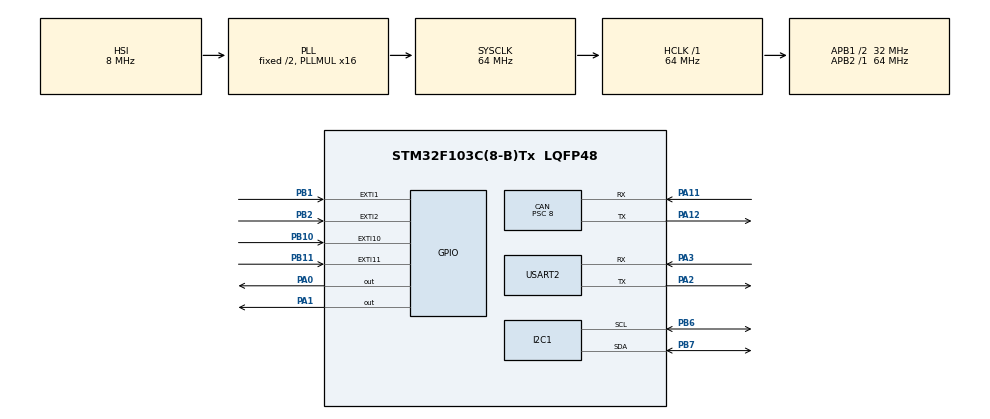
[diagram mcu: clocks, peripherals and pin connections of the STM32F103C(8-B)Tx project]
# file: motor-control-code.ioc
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CAN.BS1=CAN_BS1_2TQ
CAN.CalculateBaudRate=1000000
CAN.CalculateTimeBit=1000
CAN.CalculateTimeQuantum=250.0
CAN.Prescaler=8
Mcu.Family=STM32F1
Mcu.Name=STM32F103C(8-B)Tx
Mcu.Package=LQFP48
NVIC.EXTI15_10_IRQn=true\:0\:0\:false\:false\:true\:true\:true\:true
NVIC.EXTI1_IRQn=true\:0\:0\:false\:false\:true\:true\:true\:true
NVIC.EXTI2_IRQn=true\:0\:0\:false\:false\:true\:true\:true\:true
NVIC.PriorityGroup=NVIC_PRIORITYGROUP_4
NVIC.TIM1_UP_IRQn=true\:0\:0\:false\:false\:true\:true\:true\:true
NVIC.USB_LP_CAN1_RX0_IRQn=true\:0\:0\:false\:false\:true\:true\:true\:true
PA0-WKUP.Signal=GPIO_Output
PA1.Signal=GPIO_Output
PA11.Mode=CAN_Activate
PA11.Signal=CAN_RX
PA12.Mode=CAN_Activate
PA12.Signal=CAN_TX
PA13.Mode=Serial_Wire
PA13.Signal=SYS_JTMS-SWDIO
PA14.Mode=Serial_Wire
PA14.Signal=SYS_JTCK-SWCLK
PA2.Mode=Asynchronous
PA2.Signal=USART2_TX
PA3.Mode=Asynchronous
PA3.Signal=USART2_RX
PB1.GPIO_ModeDefaultEXTI=GPIO_MODE_IT_RISING
PB1.Signal=GPXTI1
PB10.GPIO_ModeDefaultEXTI=GPIO_MODE_IT_RISING
PB10.Signal=GPXTI10
PB11.GPIO_ModeDefaultEXTI=GPIO_MODE_IT_RISING
PB11.Signal=GPXTI11
PB2.GPIO_ModeDefaultEXTI=GPIO_MODE_IT_RISING
PB2.Signal=GPXTI2
PB6.Mode=I2C
PB6.Signal=I2C1_SCL
PB7.Mode=I2C
PB7.Signal=I2C1_SDA
ProjectManager.HeapSize=0x200
ProjectManager.StackSize=0x400
ProjectManager.TargetToolchain=STM32CubeIDE
RCC.AHBFreq_Value=64000000
RCC.APB1CLKDivider=RCC_HCLK_DIV2
RCC.APB1Freq_Value=32000000
RCC.APB1TimFreq_Value=64000000
RCC.APB2Freq_Value=64000000
RCC.APB2TimFreq_Value=64000000
RCC.HCLKFreq_Value=64000000
RCC.PLLMUL=RCC_PLL_MUL16
RCC.SYSCLKFreq_VALUE=64000000
RCC.SYSCLKSource=RCC_SYSCLKSOURCE_PLLCLK
RCC.USBFreq_Value=64000000
TIM1.Period=999
TIM1.Prescaler=63
USART2.VirtualMode=VM_ASYNC
VP_TIM1_VS_ClockSourceINT.Mode=Internal
board=custom

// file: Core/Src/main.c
/* USER CODE BEGIN Header */
/**
  ******************************************************************************
  * @file           : main.c
  * @brief          : Main program body
  ******************************************************************************
  * @attention
  *
  * Copyright (c) 2022 STMicroelectronics.
  * All rights reserved.
  *
  * This software is licensed under terms that can be found in the LICENSE file
  * in the root directory of this software component.
  * If no LICENSE file comes with this software, it is provided AS-IS.
  *
  ******************************************************************************
  */
/* USER CODE END Header */
#include "main.h"
#include "can.h"
#include "i2c.h"
#include "tim.h"
#include "usart.h"
#include "gpio.h"

/* USER CODE BEGIN Includes */
#include <stdbool.h>
#include "math.h"
#include "printf.h"
#include "motor.h"
#include "pid.h"
#include "oled.h"
#include "retarget.h"
#include "menu.h"
#include "key.h"
#include "delay.h"
/* USER CODE END Includes */

void SystemClock_Config(void);

/* USER CODE BEGIN 0 */

#define DECELERATION_RATIO_2006 36
#define DECELERATION_RATIO_3508 19.2032

uint64_t times = 0;
uint16_t times_can_recive = 0;
uint16_t times_can_send = 0;

void HAL_CAN_RxFifo0MsgPendingCallback(CAN_HandleTypeDef *hcan) {

    if (hcan->Instance == CAN1) {
        if (times_can_recive > 200) {
            HAL_GPIO_TogglePin(GPIOA, GPIO_PIN_0);
            times_can_recive = 0;
        }
        CAN_RxHeaderTypeDef rx_header;
        HAL_CAN_GetRxMessage(hcan, CAN_RX_FIFO0, &rx_header, can_rx_data);
    }
}

pid_t_ pid_struct;
double set_speed = 0;

void HAL_TIM_PeriodElapsedCallback(TIM_HandleTypeDef *htim) {
    get_moto_measure(&moto_measure);

    pid_calc(&pid_struct, (float) moto_measure.speed_rpm, set_speed);
    set_moto_current((int16_t) pid_struct.pos_out);
    times++;
    times_can_recive++;
    times_can_send++;
}

void can_init(void) {
    CAN_FilterTypeDef can_filter_st;
    can_filter_st.FilterActivation = ENABLE;
    can_filter_st.FilterMode = CAN_FILTERMODE_IDMASK;
    can_filter_st.FilterScale = CAN_FILTERSCALE_32BIT;
    can_filter_st.FilterIdHigh = (CAN_ID) << 5;
    can_filter_st.FilterIdLow = 0;
    can_filter_st.FilterMaskIdHigh = 0xFFE0;
    can_filter_st.FilterMaskIdLow = 0x0000;
    can_filter_st.FilterBank = 1;
    can_filter_st.FilterFIFOAssignment = CAN_RX_FIFO0;
    HAL_CAN_ConfigFilter(&hcan, &can_filter_st);
    HAL_CAN_Start(&hcan);
    HAL_CAN_ActivateNotification(&hcan, CAN_IT_RX_FIFO0_MSG_PENDING);
}
/* USER CODE END 0 */

int main(void) {

    /* MCU Configuration--------------------------------------------------------*/

    /* Reset of all peripherals, Initializes the Flash interface and the Systick. */
    HAL_Init();

    /* Configure the system clock */
    SystemClock_Config();

    /* Initialize all configured peripherals */
    MX_GPIO_Init();
    MX_CAN_Init();
    MX_I2C1_Init();
    MX_TIM1_Init();
    MX_USART2_UART_Init();
    /* USER CODE BEGIN 2 */

    RetargetInit(&huart2);

//    OLED_Init();                           //OLED初始
//    OLED_Clear();                         //清屏

    can_init();
    HAL_TIM_Base_Start_IT(&htim1);
    bool key_state = true;
    HAL_UART_Transmit(&huart2, "start\r\n", 7, HAL_MAX_DELAY);
    //位置式pid
    PID_struct_init(&pid_struct, POSITION_PID, 20000, 20000, 18.0f, 0.0002f, 13.0f);
    //增量式pid
    //PID_struct_init(&pid_struct, DELTA_PID, 20000, 20000, 10.0f, 0.1f, 10.0f);

    pid_struct.max_err = 20000.0f;
    uint16_t max_speed_change = 5000;
    /* USER CODE END 2 */

    /* Infinite loop */
    /* USER CODE BEGIN WHILE */
    bool flag = true;
    bool start_flag = false;
    float dt = 0.002f;
    float t = 0;
    double a = 1.0;
    double w = 1.90;
    double b = 2.090 - a;
    double set_speed_temp = 864 * 2;

    struct motor_oled par = {
            0, 1, 1, 10.0f
    };

    //前期的参数设置
//while循环里的延时会极大的影响到sin函数的周期
//以及printf()的使用也会影响到周期
    while (1) {
        /* USER CODE END WHILE */

        /* USER CODE BEGIN 3 */

        // OLED_Clear();
        //set_speed = 10 * DECELERATION_RATIO_3508 * 3;
        set_speed = 90 * a * (sin(w * 0.001 * times) + b) * DECELERATION_RATIO_3508 / 3.1415926;

        pid_calc(&pid_struct, (float) moto_measure.speed_rpm, set_speed);
        printf("%d\n", moto_measure.real_current);

        // OLED_ShowNum(8 * 7, 0, set_speed, 4, 16, 1);
        //delayus(1000);

    }
    /* USER CODE END 3 */
}

void SystemClock_Config(void) {
    RCC_OscInitTypeDef RCC_OscInitStruct = {0};
    RCC_ClkInitTypeDef RCC_ClkInitStruct = {0};

    /** Initializes the RCC Oscillators according to the specified parameters
    * in the RCC_OscInitTypeDef structure.
    */
    RCC_OscInitStruct.OscillatorType = RCC_OSCILLATORTYPE_HSI;
    RCC_OscInitStruct.HSIState = RCC_HSI_ON;
    RCC_OscInitStruct.HSICalibrationValue = RCC_HSICALIBRATION_DEFAULT;
    RCC_OscInitStruct.PLL.PLLState = RCC_PLL_ON;
    RCC_OscInitStruct.PLL.PLLSource = RCC_PLLSOURCE_HSI_DIV2;
    RCC_OscInitStruct.PLL.PLLMUL = RCC_PLL_MUL16;
    if (HAL_RCC_OscConfig(&RCC_OscInitStruct) != HAL_OK) {
        Error_Handler();
    }

    /** Initializes the CPU, AHB and APB buses clocks
    */
    RCC_ClkInitStruct.ClockType = RCC_CLOCKTYPE_HCLK | RCC_CLOCKTYPE_SYSCLK
                                  | RCC_CLOCKTYPE_PCLK1 | RCC_CLOCKTYPE_PCLK2;
    RCC_ClkInitStruct.SYSCLKSource = RCC_SYSCLKSOURCE_PLLCLK;
    RCC_ClkInitStruct.AHBCLKDivider = RCC_SYSCLK_DIV1;
    RCC_ClkInitStruct.APB1CLKDivider = RCC_HCLK_DIV2;
    RCC_ClkInitStruct.APB2CLKDivider = RCC_HCLK_DIV1;

    if (HAL_RCC_ClockConfig(&RCC_ClkInitStruct, FLASH_LATENCY_2) != HAL_OK) {
        Error_Handler();
    }
}

void Error_Handler(void) {
    __disable_irq();
    while (1) {
    }
}
